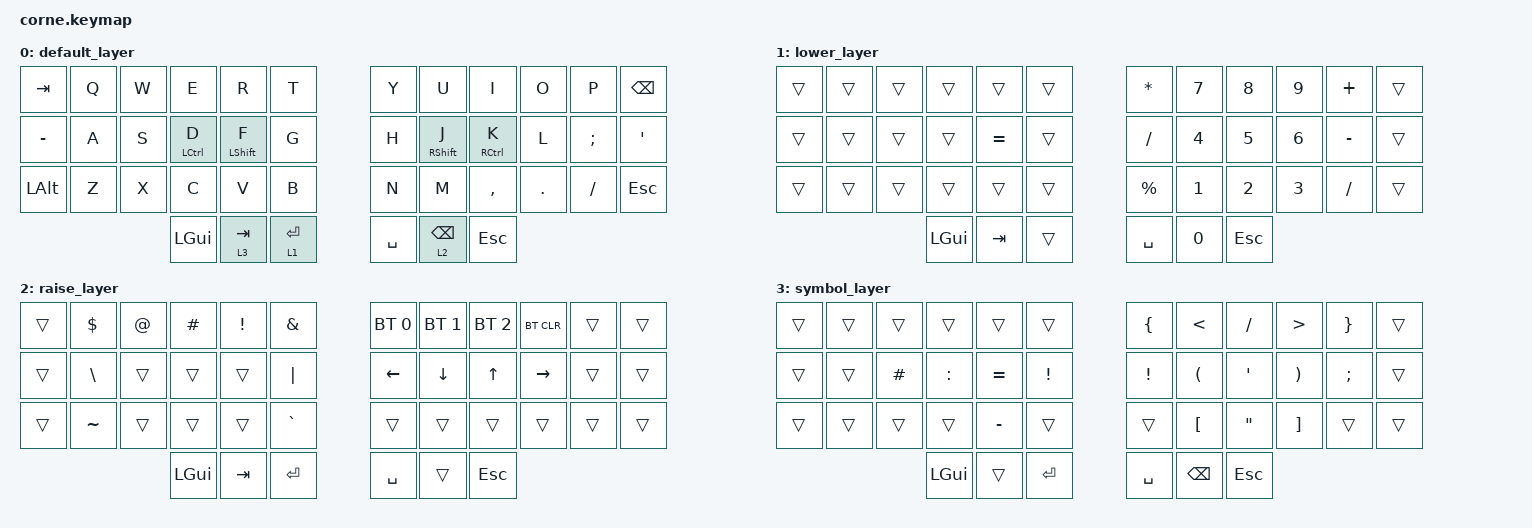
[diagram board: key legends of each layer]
/*
 * Copyright (c) 2020 The ZMK Contributors
 *
 * SPDX-License-Identifier: MIT
 */

#include <behaviors.dtsi>
#include <dt-bindings/zmk/keys.h>
#include <dt-bindings/zmk/bt.h>

/ {
        keymap {
                compatible = "zmk,keymap";

                default_layer {
                        bindings = <
   &kp TAB   &kp Q &kp W    &kp E       &kp R        &kp T      &kp Y     &kp U        &kp I       &kp O   &kp P    &kp BSPC
   &kp MINUS &kp A &kp S    &mt LCTRL D &mt LSHIFT F &kp G      &kp H     &mt RSHIFT J &mt RCTRL K &kp L   &kp SEMI &kp SQT
   &kp LALT  &kp Z &kp X    &kp C       &kp V        &kp B      &kp N     &kp M        &kp COMMA   &kp DOT &kp FSLH &kp ESC
                            &kp LGUI    &lt 3 TAB    &lt 1 RET  &kp SPACE &lt 2 BSPC   &kp ESC
                        >;
                };

                lower_layer {
                        bindings = <
   &trans &trans &trans &trans   &trans    &trans  &kp STAR  &kp N7 &kp N8 &kp N9 &kp PLUS  &trans
   &trans &trans &trans &trans   &kp EQUAL &trans  &kp FSLH  &kp N4 &kp N5 &kp N6 &kp MINUS &trans
   &trans &trans &trans &trans   &trans    &trans  &kp PRCNT &kp N1 &kp N2 &kp N3 &kp FSLH  &trans
                        &kp LGUI &kp TAB   &trans  &kp SPACE &kp N0 &kp ESC 
                        >;
                };

                raise_layer {
                        bindings = <
   &trans &kp DLLR  &kp AT &kp HASH &kp EXCL &kp AMPS   &bt BT_SEL 0 &bt BT_SEL 1 &bt BT_SEL 2 &bt BT_CLR &trans &trans
   &trans &kp BSLH  &trans &trans   &trans   &kp PIPE   &kp LEFT     &kp DOWN     &kp UP       &kp RIGHT  &trans &trans
   &trans &kp TILDE &trans &trans   &trans   &kp GRAVE  &trans       &trans       &trans       &trans     &trans &trans
                           &kp LGUI &kp TAB  &kp RET    &kp SPACE    &trans   &kp ESC 
                        >;
                };

                 symbol_layer {
                        bindings = <
   &trans &trans &trans   &trans    &trans    &trans   &kp LBRC  &kp LT   &kp SLASH &kp GT   &kp RBRC &trans
   &trans &trans &kp HASH &kp COLON &kp EQUAL &kp EXCL &kp EXCL  &kp LPAR &kp SQT   &kp RPAR &kp SEMI &trans
   &trans &trans &trans   &trans    &kp MINUS &trans   &trans    &kp LBKT &kp DQT   &kp RBKT &trans   &trans
                          &kp LGUI  &trans    &kp RET  &kp SPACE &kp BSPC &kp ESC 
                        >;
                };
        };
};
